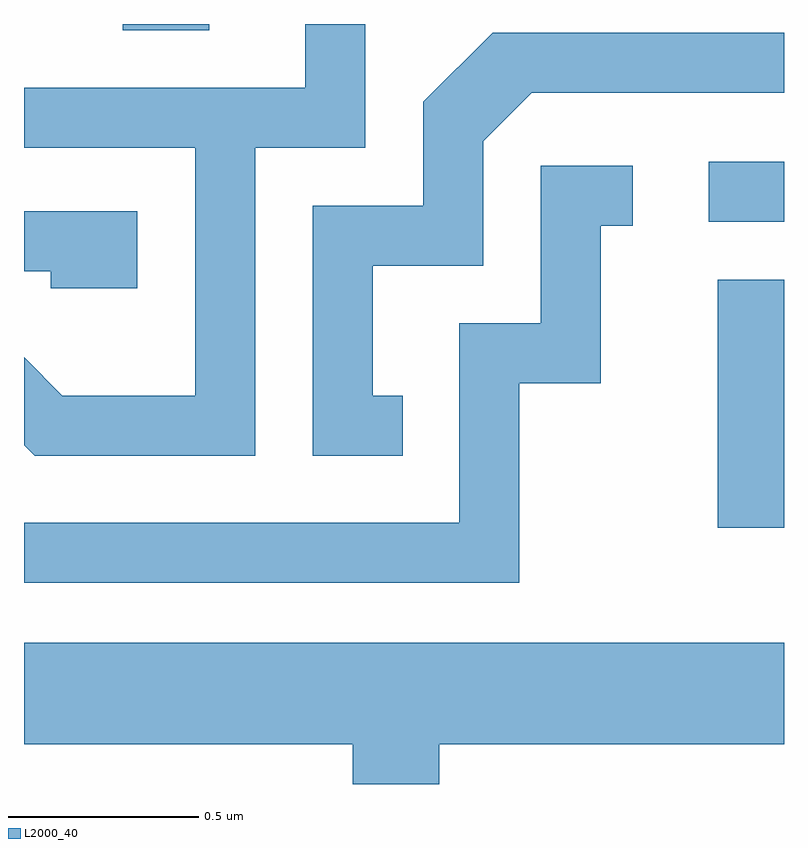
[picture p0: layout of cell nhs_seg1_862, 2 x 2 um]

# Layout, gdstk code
import gdstk
lib = gdstk.Library(unit=1e-6, precision=1e-09)
def R(c, l, rs):  # rectangles x0, y0, x1, y1
    for r in rs: c.add(gdstk.rectangle(r[:2], r[2:], *l))
def P(c, l, *ps):  # polygons
    for p in ps: c.add(gdstk.Polygon(p, *l))
L2000_40 = (2000, 40)

nhs_seg1_862 = lib.new_cell('nhs_seg1_862')
R(nhs_seg1_862, L2000_40, [(193.436,882.386,193.611,883.039), (193.413,883.191,193.611,883.349), (191.871,883.696,192.099,883.712)])
P(nhs_seg1_862, L2000_40, [(192.219,883.386),(192.509,883.386),(192.509,883.712),(192.351,883.712),(192.351,883.544),(191.611,883.544),(191.611,883.386),(192.061,883.386),(192.061,882.734),(191.712,882.734),(191.611,882.835),(191.611,882.604),(191.639,882.576),(192.219,882.576)],
  [(192.608,882.734),(192.529,882.734),(192.529,883.076),(192.819,883.076),(192.819,883.404),(192.947,883.531),(193.611,883.531),(193.611,883.689),(192.844,883.689),(192.661,883.507),(192.661,883.234),(192.371,883.234),(192.371,882.576),(192.608,882.576)],
  [(192.914,882.766),(193.129,882.766),(193.129,883.181),(193.213,883.181),(193.213,883.339),(192.971,883.339),(192.971,882.924),(192.756,882.924),(192.756,882.399),(191.611,882.399),(191.611,882.241),(192.914,882.241)],
  [(191.909,883.219),(191.611,883.219),(191.611,883.061),(191.681,883.061),(191.681,883.016),(191.909,883.016)],
  [(192.704,881.816),(193.611,881.816),(193.611,882.084),(191.611,882.084),(191.611,881.816),(192.476,881.816),(192.476,881.712),(192.704,881.712)])

lib.write_gds('nhs_seg1_862.gds')
